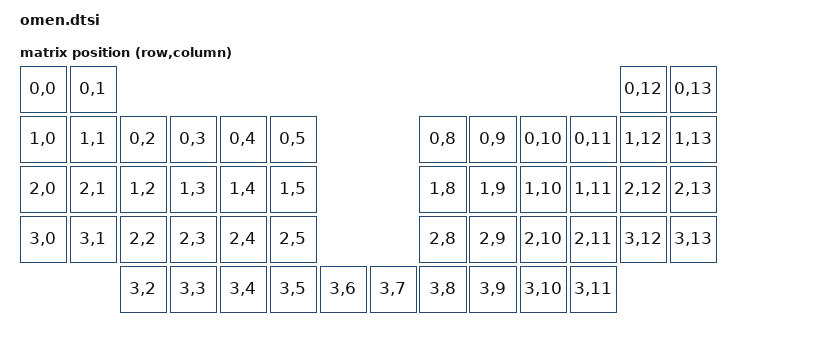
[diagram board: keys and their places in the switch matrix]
/*
 * Copyright (c) 2024 The ZMK Contributors
 *
 * SPDX-License-Identifier: MIT
 */

#include <dt-bindings/zmk/matrix_transform.h>

/ {
    chosen {
        // zephyr,display = &oled;
        zmk,matrix_transform = &default_transform;
        zmk,kscan = &kscan0;
        // zmk,physical-layout = &physical_layout0;
    };

    default_transform: keymap_transform_0 {
        compatible = "zmk,matrix-transform";
        columns = <14>;
        rows = <4>;
// |   F1  |   F2  |                                                                                     |   F7   |  F8  |
// |   FN  |   Q   |   W   |   E   |   R   |   T   |                   |   Z   |   U   |   I    |   O    |   P    |  F9  |
// | SHIFT |   A   |   S   |   D   |   F   |   G   |                   |   H   |   J   |   K    |   L    |   Ö    |  F10 |
// |  ESC  |   Y   |   X   |   C   |   V   |   B   |                   |   N   |   M   |   ,;   |   .:   |   -_   |  F11 |
//                 |   F3  |   F4  |  OPT  | CNTRL |  CMD  |   |  CMD  | CNTRL |  OPT  |   F5   |   F6   |                
        map = <
   RC(0,0) RC(0,1)                                                                                       RC(0,12) RC(0,13)
   RC(1,0) RC(1,1) RC(0,2) RC(0,3) RC(0,4) RC(0,5)                     RC(0,8) RC(0,9) RC(0,10) RC(0,11) RC(1,12) RC(1,13)
   RC(2,0) RC(2,1) RC(1,2) RC(1,3) RC(1,4) RC(1,5)                     RC(1,8) RC(1,9) RC(1,10) RC(1,11) RC(2,12) RC(2,13)
   RC(3,0) RC(3,1) RC(2,2) RC(2,3) RC(2,4) RC(2,5)                     RC(2,8) RC(2,9) RC(2,10) RC(2,11) RC(3,12) RC(3,13)
                   RC(3,2) RC(3,3) RC(3,4) RC(3,5) RC(3,6)     RC(3,7) RC(3,8) RC(3,9) RC(3,10) RC(3,11)
        >;
    };

    kscan0: kscan0 {
        compatible = "zmk,kscan-gpio-matrix";
        wakeup-source;
        diode-direction = "col2row";

    };
};

&pinctrl {
    spi0_default: spi0_default {
        group1 {
            psels = <NRF_PSEL(SPIM_SCK, 0, 31)>,
                <NRF_PSEL(SPIM_MOSI, 0, 29)>,
                <NRF_PSEL(SPIM_MISO, 0, 25)>;
        };
    };
    spi0_sleep: spi0_sleep {
        group1 {
            psels = <NRF_PSEL(SPIM_SCK, 0, 31)>,
                <NRF_PSEL(SPIM_MOSI, 0, 29)>,
                <NRF_PSEL(SPIM_MISO, 0, 25)>;
            low-power-enable;
        };
    };
};

nice_view_spi: &spi0 {
    compatible = "nordic,nrf-spim";
    pinctrl-0 = <&spi0_default>;
    pinctrl-1 = <&spi0_sleep>;
    pinctrl-names = "default", "sleep";
    cs-gpios = <&pro_micro 19 GPIO_ACTIVE_HIGH>;
};

&pro_micro_i2c {
    status = "disabled";
};

// &pro_micro_i2c {
//     status = "okay";

//     oled: ssd1306@3c {
//         compatible = "solomon,ssd1306fb";
//         reg = <0x3c>;
//         width = <128>;
//         height = <32>;
//         segment-offset = <0>;
//         page-offset = <0>;
//         display-offset = <0>;
//         multiplex-ratio = <31>;
//         segment-remap;
//         com-invdir;
//         com-sequential;
//         inversion-on;
//         prechargep = <0x22>;
//     };
// };
